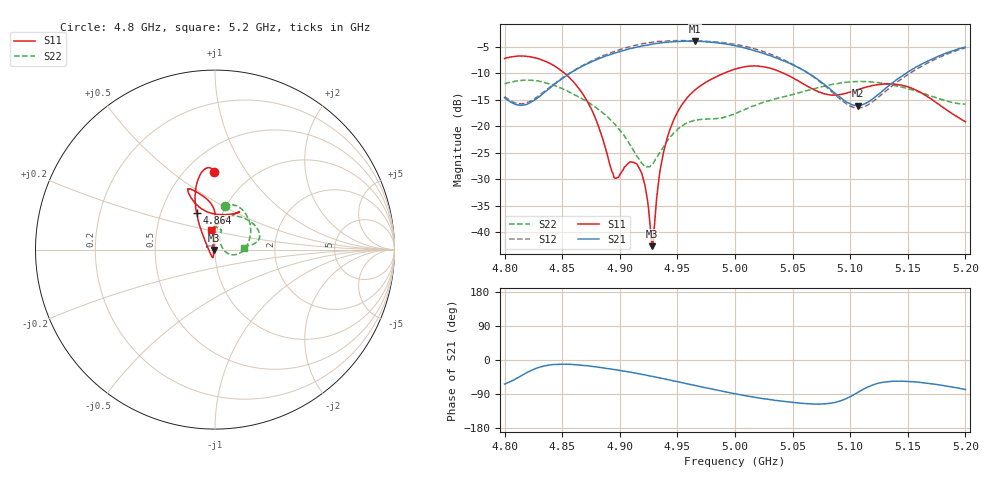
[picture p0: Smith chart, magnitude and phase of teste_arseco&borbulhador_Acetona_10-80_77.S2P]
! Network Analyzer HP8722D
! Hewlett-Packard
! Data name: Linha & Wilkinson
! Saver's name: Rodrigo Anjos
! Comments: Teste da utilização de aquisição
! continua pelo VNA HP8722D
! Time and date: 25/4/2025 15:54
!  Frequency  S11  S21  S12  S22
# HZ  S  MA R 50
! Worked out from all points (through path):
!   401 points, 4.8 GHz to 5.2 GHz, reference 50 ohm
!   highest |S21| = -3.95 dB at 4.965 GHz (marker M1); lowest = -16.1 dB at 5.107 GHz (marker M2)
!   lowest |S11| = -42.6 dB at 4.928 GHz (marker M3), VSWR 1.01, Z = 49.3 - j0.156 ohm
!   |S11| at or under -10 dB: 4.852 GHz to 4.991 GHz (138.8 MHz wide, 2.82 % of centre); 5.042 GHz to end of sweep
!   |S22| runs from -27.7 to -11.3 dB; largest |S21 - S12| = 1.2
!   S11 on the Smith chart (normalised r, x): 4.8 GHz: 0.68, +0.73; 4.864 GHz: 0.75, +0.33; 5.2 GHz: 0.94, +0.21
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4.8e9  0.4342 90.6  0.1854 -63.5  0.1903 69.9  0.2504 77.2
4.82e9  0.4527 96.7  0.1622 -32.0  0.1677 98.7  0.2716 61.4
4.864e9  0.2303 116.6  0.3508 -13.1  0.354 121.0  0.1891 11.9
4.867e9  0.2076 118.2  0.3653 -13.9  0.369 120.6  0.1823 8.3
4.88e9  0.1104 128.8  0.424 -18.6  0.4344 118.3  0.1477 -5.6
4.895e9  0.03301 -172.1  0.4873 -25.0  0.5022 113.7  0.1061 -15.8
4.909e9  0.04627 -107.2  0.5379 -32.2  0.5626 107.6  0.06664 -14.1
4.917e9  0.04 -103.7  0.5619 -36.5  0.5901 103.4  0.04837 -1.3
4.922e9  0.02713 -106.7  0.5779 -39.3  0.6039 100.6  0.04149 16.4
4.928e9  0.007423 -167.7  0.5935 -43.1  0.6181 96.9  0.04346 41.5
4.93e9  0.01132 126.8  0.597 -44.4  0.6203 95.5  0.04661 48.9
4.934e9  0.0322 100.7  0.6041 -46.9  0.63 93.1  0.05523 59.1
4.939e9  0.06318 92.8  0.6148 -50.0  0.6342 89.9  0.06673 66.5
4.946e9  0.1096 89.9  0.6238 -54.6  0.6398 85.5  0.08413 70.5
4.965e9  0.2179 90.8  0.6344 -67.1  0.6371 73.3  0.1142 71.7
5e9  0.3451 109.0  0.5728 -89.2  0.5909 50.7  0.1317 88.7
5.03e9  0.3534 115.0  0.4642 -104.4  0.4813 33.8  0.174 85.4
5.067e9  0.2251 105.1  0.3001 -116.0  0.2972 23.6  0.223 56.8
5.107e9  0.222 63.7  0.1565 -84.8  0.1483 58.3  0.2634 24.1
5.134e9  0.2504 56.9  0.2426 -56.7  0.2281 88.8  0.2477 12.3
5.168e9  0.1872 69.1  0.4147 -61.9  0.3978 85.1  0.1956 6.9
5.2e9  0.1101 100.6  0.5565 -77.7  0.5454 70.0  0.161 3.8
